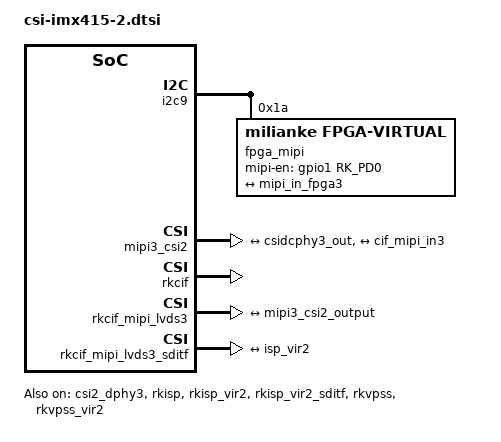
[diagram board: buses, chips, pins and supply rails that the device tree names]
&csi2_dphy3 {
	status = "okay";

	ports {
		#address-cells = <1>;
		#size-cells = <0>;
		port@0 {
			reg = <0>;
			#address-cells = <1>;
			#size-cells = <0>;

			mipi_in_fpga3: endpoint@1 {
				reg = <1>;
				remote-endpoint = <&fpga_out3>;
				data-lanes = <1 2 3 4>;
			};
		};

		port@1 {
			reg = <1>;
			#address-cells = <1>;
			#size-cells = <0>;

			csidcphy3_out: endpoint@0 {
				reg = <0>;
				remote-endpoint = <&mipi3_csi2_input>;
			};
		};
	};
};

&i2c9 {
	status = "okay";
	pinctrl-0 = <&i2c9m1_xfer>;

	fpga_mipi: fpga@1a {

		compatible = "milianke,fpga-virtual";
		reg = <0x1a>;
		status = "okay";
		mipi-en-gpios = <&gpio1 RK_PD0 GPIO_ACTIVE_HIGH>;
		rockchip,camera-module-index = <2>;
		rockchip,camera-module-facing = "back";
		rockchip,camera-module-name = "FPGA-MIPI";
		rockchip,camera-module-lens-name = "VIRTUAL";
		port {
			fpga_out3: endpoint {
				remote-endpoint = <&mipi_in_fpga3>;
				data-lanes = <1 2 3 4>;
			};
		};
	};
};

&mipi3_csi2 {
	status = "okay";

	ports {
		#address-cells = <1>;
		#size-cells = <0>;

		port@0 {
			reg = <0>;
			#address-cells = <1>;
			#size-cells = <0>;

			mipi3_csi2_input: endpoint@1 {
				reg = <1>;
				remote-endpoint = <&csidcphy3_out>;
			};
		};

		port@1 {
			reg = <1>;
			#address-cells = <1>;
			#size-cells = <0>;

			mipi3_csi2_output: endpoint@0 {
				reg = <0>;
				remote-endpoint = <&cif_mipi_in3>;
			};
		};
	};
};

&rkcif {
	status = "okay";
};

&rkcif_mipi_lvds3 {
	status = "okay";

	port {
		cif_mipi_in3: endpoint {
			remote-endpoint = <&mipi3_csi2_output>;
		};
	};
};

&rkcif_mipi_lvds3_sditf {
	status = "okay";

	port {
		mipi3_lvds_sditf: endpoint {
			remote-endpoint = <&isp_vir2>;
		};
	};
};

&rkcif_mmu {
	status = "okay";
};

&rkisp {
	status = "okay";
};

&rkisp_mmu {
	status = "okay";
};

&rkisp_vir2 {
	status = "okay";

	port {
		#address-cells = <1>;
		#size-cells = <0>;

		isp_vir2: endpoint@0 {
			reg = <0>;
			remote-endpoint = <&mipi3_lvds_sditf>;
		};
	};
};

&rkisp_vir2_sditf {
	status = "okay";
};

&rkvpss {
	status = "okay";
};

&rkvpss_mmu {
	status = "okay";
};

&rkvpss_vir2 {
	status = "okay";
};
